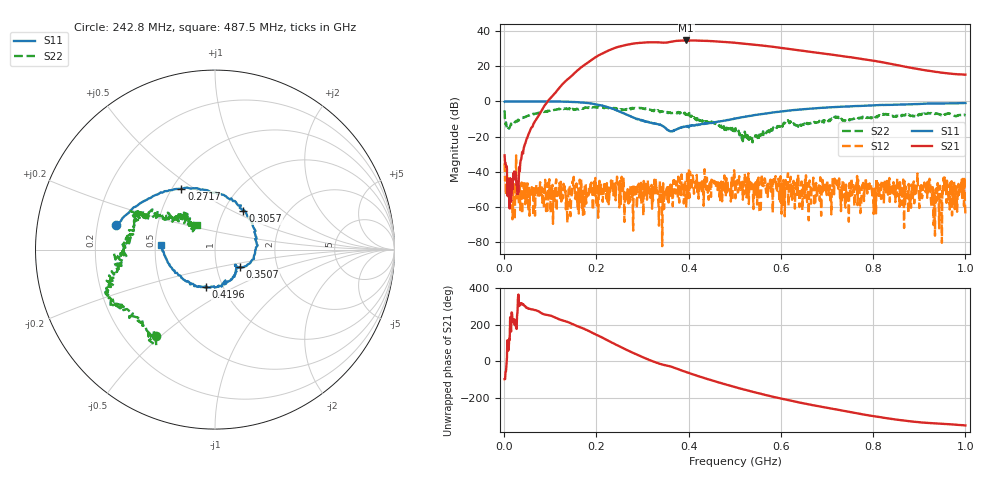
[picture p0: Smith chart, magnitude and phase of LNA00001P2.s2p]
! Created with skrf 1.9.0 (http://scikit-rf.org).
# Hz S RI R 50.0
!freq ReS11 ImS11 ReS21 ImS21 ReS12 ImS12 ReS22 ImS22
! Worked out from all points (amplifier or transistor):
!   1001 points, 1 MHz to 1 GHz, reference 50 ohm
!   highest |S21| = 34.7 dB at 394.6 MHz (marker M1)
!   |S21| within 3 dB of that: 256.7 MHz to 562.9 MHz (306.2 MHz wide, 74.7 % of centre)
!   unconditionally stable (mu >= 1): 16.6 MHz to 67.46 MHz; 245.2 MHz to 384.6 MHz; 434.7 MHz to end of sweep (the widest 3 of 42)
!   at 166.8 MHz: K = 0.73, MSG = 31.9 dB, |S12| = -44.5 dB
!   at 500.5 MHz: K = 2.27, MAG = 34.1 dB, |S12| = -47.5 dB
!   at 1 GHz: K = 21.55, MAG = 23.2 dB, |S12| = -64.0 dB
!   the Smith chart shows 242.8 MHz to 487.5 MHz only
!   S11 on the Smith chart (normalised r, x): 242.8 MHz: 0.28, +0.11; 271.7 MHz: 0.56, +0.45; 305.7 MHz: 1.23, +0.57; 350.6 MHz: 1.29, -0.26; 419.6 MHz: 0.83, -0.36; 487.5 MHz: 0.54, +0.03
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1000000  0.9763 -0.0105  -0.00428 -0.0288  -0.00874 0.0151  0.4249 0.3579
1.08892e8  0.53 -0.8415  -0.784 -1.461  -0.000539 -0.00142  0.4224 -0.3849
1.67833e8  -0.2191 -0.9048  -9.492 -0.5724  0.00138 -0.00223  0.0343 -0.6405
2.09791e8  -0.6676 -0.3998  -15.16 16.1  -0.00372 0.00217  -0.2209 -0.667
2.26774e8  -0.6659 -0.1028  -10.17 26.36  0.00116 0.000268  -0.2867 -0.58
2.42758e8  -0.5507 0.1371  -0.3266 33.96  -0.0037 0.000774  -0.3295 -0.4837
2.71729e8  -0.1873 0.3393  24.38 34.46  0.00068 -0.00198  -0.5077 -0.3186
3.05695e8  0.1567 0.2139  45.2 13.5  0.0017 -0.00167  -0.5639 -0.1997
3.34666e8  0.222 -0.0248  46.88 -9.823  -0.0011 0.000365  -0.5431 -0.0406
3.5065e8  0.1383 -0.0968  43.44 -18.11  -0.00199 -0.00073  -0.4705 0.0691
3.7063e8  0.1185 -0.0976  41.76 -31.36  -0.00182 0.00234  -0.4451 0.1611
3.94606e8  0.0679 -0.1781  27.57 -46.65  0.000999 -0.000185  -0.3845 0.1743
4.19581e8  -0.052 -0.2069  8.918 -52.91  0.00256 0.000798  -0.2775 0.1671
4.5055e8  -0.1969 -0.1438  -13.37 -50.38  0.00488 -0.000463  -0.1634 0.1942
4.87513e8  -0.2981 0.027  -32.3 -35.6  0.00337 0.00151  -0.1001 0.1364
5.005e8  -0.3065 0.0982  -36.87 -28.97  -0.00343 0.00249  -0.1109 0.1221
5.4046e8  -0.2491 0.3189  -40.47 -8.324  0.000867 3.26e-05  -0.0842 0.00413
5.88412e8  -0.0517 0.4924  -33.16 10.94  0.00151 -0.00736  -0.1639 -0.0887
6.67333e8  0.3237 0.5359  -12.62 21.78  -0.00236 -0.00191  -0.2623 -0.0146
7.53247e8  0.6252 0.3708  3.078 17.54  -0.00463 -0.0045  -0.3076 0.039
8.34166e8  0.7833 0.1454  8.301 8.606  -0.00373 0.000355  -0.4024 0.0965
1e9  0.8122 -0.3881  5.713 0.8008  -0.000341 0.000534  -0.1517 0.3694
